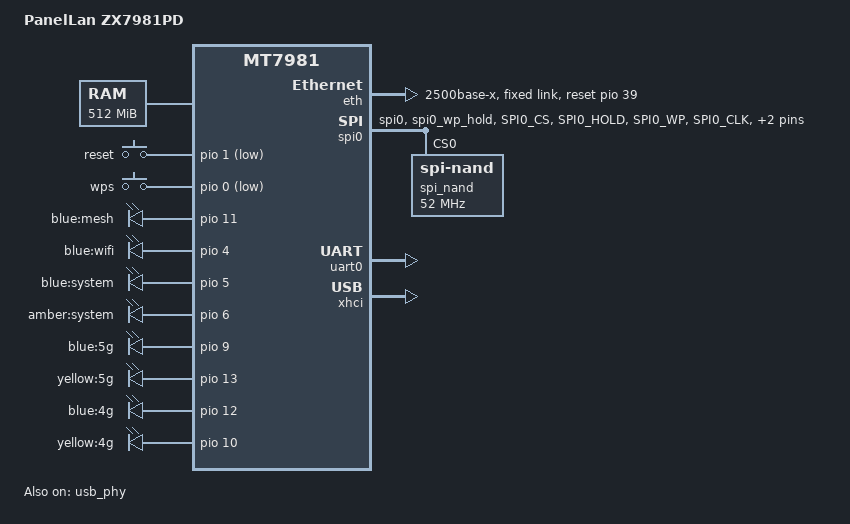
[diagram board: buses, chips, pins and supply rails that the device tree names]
// SPDX-License-Identifier: GPL-2.0-or-later

/dts-v1/;

#include "mt7981.dtsi"
#include <dt-bindings/gpio/gpio.h>

/ {
	#address-cells = <1>;
	#size-cells = <1>;
	model = "PanelLan ZX7981PD";
	compatible = "panellan,zx7981pd", "panellan,zx7981pde", "mediatek,mt7981";

	chosen {
		stdout-path = &uart0;
		tick-timer = &timer0;
	};

	config {
		/delete-property/ u-boot,mmc-env-partition;
		bootcmd = "mtkboardboot";
		blink_led = "amber:system";
		system_led = "amber:system";
	};

	memory@40000000 {
		device_type = "memory";
		reg = <0x40000000 0x20000000>;
	};

	mtd-layout {
		layout@0 {
			label = "Stock_Dual_Boot (Original PanelLan)";
			mtdids = "nmbm0=nmbm0";
			/* Exact match to the manufacturer's partition table */
			mtdparts = "nmbm0:1024k(bl2),512k(u-boot-env),2048k(Factory),2048k(FIP),640k(woem),57344k(ubi),57344k(ubi2),384k(wtinfo),384k(nvram)";
		};

		layout@1 {
			label = "Single_Boot (128MB)";
			mtdids = "nmbm0=nmbm0";
			mtdparts = "nmbm0:1024k(bl2),512k(u-boot-env),2048k(Factory),2048k(FIP),115328k(ubi),384k(wtinfo),384k(nvram)";
		};

		layout@2 {
			label = "Single_Boot (256/512MB)";
			mtdids = "nmbm0=nmbm0";
			mtdparts = "nmbm0:1024k(bl2),512k(u-boot-env),2048k(Factory),2048k(FIP),384k(wtinfo),384k(nvram),-(ubi)";
		};
	};

	gpio-keys {
		compatible = "gpio-keys";

		reset-button {
			label = "reset";
			linux,code = <KEY_RESTART>;
			gpios = <&pio 1 GPIO_ACTIVE_LOW>;
		};

		wps-button {
			label = "wps";
			linux,code = <KEY_WPS_BUTTON>;
			gpios = <&pio 0 GPIO_ACTIVE_LOW>;
		};
	};

	leds {
		compatible = "gpio-leds";

		mesh {
			label = "blue:mesh";
			gpios = <&pio 11 GPIO_ACTIVE_HIGH>;
			default-state = "off";
		};

		wifi {
			label = "blue:wifi";
			gpios = <&pio 4 GPIO_ACTIVE_HIGH>;
			default-state = "off";
		};

		system-blue {
			label = "blue:system";
			gpios = <&pio 5 GPIO_ACTIVE_HIGH>;
			default-state = "off";
		};

		system-amber {
			label = "amber:system";
			gpios = <&pio 6 GPIO_ACTIVE_HIGH>;
			default-state = "on";
		};

		wbh-5g-blue {
			label = "blue:5g";
			gpios = <&pio 9 GPIO_ACTIVE_HIGH>;
			default-state = "off";
		};

		wbh-5g-yellow {
			label = "yellow:5g";
			gpios = <&pio 13 GPIO_ACTIVE_HIGH>;
			default-state = "off";
		};

		wbh-4g-blue {
			label = "blue:4g";
			gpios = <&pio 12 GPIO_ACTIVE_HIGH>;
			default-state = "off";
		};

		wbh-4g-yellow {
			label = "yellow:4g";
			gpios = <&pio 10 GPIO_ACTIVE_HIGH>;
			default-state = "off";
		};
	};
	
	bl2_verify {
		bl2_compatible = "spim-nand";
	};
};

&eth {
	status = "okay";
	mediatek,gmac-id = <0>;
	phy-mode = "2500base-x";
	mediatek,switch = "auto";
	reset-gpios = <&pio 39 GPIO_ACTIVE_HIGH>;

	fixed-link {
		speed = <2500>;
		full-duplex;
	};
};

&pio {
	spi_flash_pins: spi0-pins-func-1 {
		mux {
			function = "flash";
			groups = "spi0", "spi0_wp_hold";
		};

		conf-pu {
			pins = "SPI0_CS", "SPI0_HOLD", "SPI0_WP";
			drive-strength = <MTK_DRIVE_4mA>;
			bias-pull-up = <MTK_PUPD_SET_R1R0_11>;
		};

		conf-pd {
			pins = "SPI0_CLK", "SPI0_MOSI", "SPI0_MISO";
			drive-strength = <MTK_DRIVE_4mA>;
			bias-pull-down = <MTK_PUPD_SET_R1R0_11>;
		};
	};
};

&spi0 {
	#address-cells = <1>;
	#size-cells = <0>;
	pinctrl-names = "default";
	pinctrl-0 = <&spi_flash_pins>;
	status = "okay";
	must_tx;
	enhance_timing;
	dma_ext;
	ipm_design;
	support_quad;
	tick_dly = <2>;
	sample_sel = <0>;

	spi_nand@0 {
		compatible = "spi-nand";
		reg = <0>;
		spi-max-frequency = <52000000>;
	};
};

&uart0 {
	status = "okay";
};

&usb_phy {
	status = "okay";
};

&xhci {
	status = "okay";
};

&mmc0 {
	status = "disabled";
};

&watchdog {
	status = "disabled";
};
